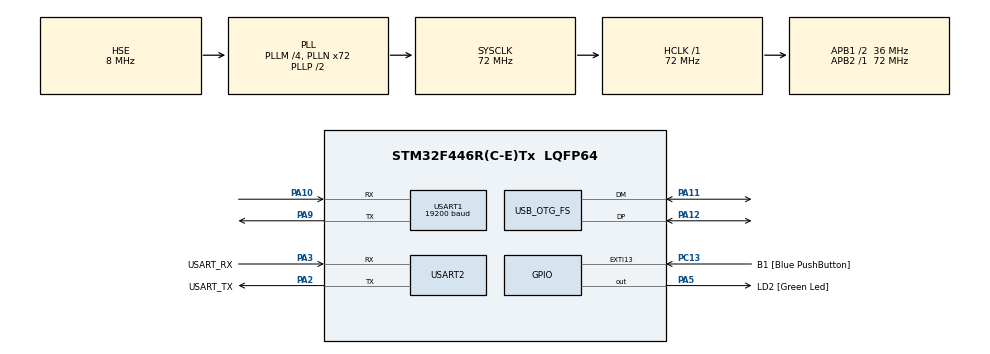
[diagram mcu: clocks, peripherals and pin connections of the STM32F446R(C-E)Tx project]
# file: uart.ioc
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Mcu.Family=STM32F4
Mcu.Name=STM32F446R(C-E)Tx
Mcu.Package=LQFP64
NVIC.OTG_FS_IRQn=true\:0\:0\:false\:false\:true\:false\:true\:true
NVIC.PriorityGroup=NVIC_PRIORITYGROUP_0
NVIC.USART1_IRQn=true\:0\:0\:false\:false\:true\:true\:true\:true
PA10.Mode=Asynchronous
PA10.Signal=USART1_RX
PA11.Mode=Device_Only
PA11.Signal=USB_OTG_FS_DM
PA12.Mode=Device_Only
PA12.Signal=USB_OTG_FS_DP
PA13.GPIO_Label=TMS
PA13.Mode=Serial_Wire
PA13.Signal=SYS_JTMS-SWDIO
PA14.GPIO_Label=TCK
PA14.Mode=Serial_Wire
PA14.Signal=SYS_JTCK-SWCLK
PA2.GPIO_Label=USART_TX
PA2.Mode=Asynchronous
PA2.Signal=USART2_TX
PA3.GPIO_Label=USART_RX
PA3.Mode=Asynchronous
PA3.Signal=USART2_RX
PA5.GPIO_Label=LD2 [Green Led]
PA5.Signal=GPIO_Output
PA9.Mode=Asynchronous
PA9.Signal=USART1_TX
PB3.GPIO_Label=SWO
PB3.Signal=SYS_JTDO-SWO
PC13.GPIO_Label=B1 [Blue PushButton]
PC13.GPIO_ModeDefaultEXTI=GPIO_MODE_IT_FALLING
PC13.Signal=GPXTI13
PC14-OSC32_IN.Mode=LSE-External-Oscillator
PC14-OSC32_IN.Signal=RCC_OSC32_IN
PC15-OSC32_OUT.Mode=LSE-External-Oscillator
PC15-OSC32_OUT.Signal=RCC_OSC32_OUT
PH0-OSC_IN.Mode=HSE-External-Oscillator
PH0-OSC_IN.Signal=RCC_OSC_IN
PH1-OSC_OUT.Mode=HSE-External-Oscillator
PH1-OSC_OUT.Signal=RCC_OSC_OUT
ProjectManager.HeapSize=0x200
ProjectManager.StackSize=0x400
ProjectManager.TargetToolchain=STM32CubeIDE
RCC.48MHZClocksFreq_Value=84000000
RCC.AHBFreq_Value=72000000
RCC.APB1CLKDivider=RCC_HCLK_DIV2
RCC.APB1Freq_Value=36000000
RCC.APB1TimFreq_Value=72000000
RCC.APB2Freq_Value=72000000
RCC.APB2TimFreq_Value=72000000
RCC.CortexFreq_Value=72000000
RCC.FLatency-AdvancedSettings=FLASH_LATENCY_2
RCC.HCLKFreq_Value=72000000
RCC.HSE_VALUE=8000000
RCC.HSI_VALUE=16000000
RCC.PLLM=4
RCC.PLLN=72
RCC.PLLQ=3
RCC.SYSCLKFreq_VALUE=72000000
RCC.SYSCLKSource=RCC_SYSCLKSOURCE_PLLCLK
RCC.USBFreq_Value=48000000
RCC.VCOOutputFreq_Value=144000000
USART1.BaudRate=19200
USART1.VirtualMode=VM_ASYNC
USART2.VirtualMode=VM_ASYNC
USB_DEVICE.CLASS_NAME_FS=CDC
USB_DEVICE.VirtualMode-CDC_FS=Cdc
USB_DEVICE.VirtualModeFS=Cdc_FS
USB_OTG_FS.VirtualMode=Device_Only
VP_USB_DEVICE_VS_USB_DEVICE_CDC_FS.Mode=CDC_FS
board=NUCLEO-F446RE

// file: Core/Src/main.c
/* USER CODE BEGIN Header */
/**
  ******************************************************************************
  * @file           : main.c
  * @brief          : Main program body
  ******************************************************************************
  * @attention
  *
  * Copyright (c) 2023 STMicroelectronics.
  * All rights reserved.
  *
  * This software is licensed under terms that can be found in the LICENSE file
  * in the root directory of this software component.
  * If no LICENSE file comes with this software, it is provided AS-IS.
  *
  ******************************************************************************
  */
/* USER CODE END Header */
#include "main.h"
#include "usb_device.h"

/* USER CODE BEGIN Includes */
#include "usbd_cdc_if.h"
/* USER CODE END Includes */

/* USER CODE BEGIN PD */
#define BUF_SIZE 200
/* USER CODE END PD */

UART_HandleTypeDef huart1;
UART_HandleTypeDef huart2;

/* USER CODE BEGIN PV */
uint8_t isReceived;
uint16_t receiveLength;
uint8_t im_rx_buffer[BUF_SIZE];
uint8_t usb_tx_buffer[BUF_SIZE];
/* USER CODE END PV */

void SystemClock_Config(void);
static void MX_GPIO_Init(void);
static void MX_USART2_UART_Init(void);
static void MX_USART1_UART_Init(void);
/* USER CODE BEGIN PFP */
void HAL_UART_RxCpltCallback(UART_HandleTypeDef *huart);
/* USER CODE END PFP */

int main(void)
{

  /* MCU Configuration--------------------------------------------------------*/

  /* Reset of all peripherals, Initializes the Flash interface and the Systick. */
  HAL_Init();

  /* Configure the system clock */
  SystemClock_Config();

  /* Initialize all configured peripherals */
  MX_GPIO_Init();
  MX_USART2_UART_Init();
  MX_USART1_UART_Init();
  MX_USB_DEVICE_Init();
  /* USER CODE BEGIN 2 */
  HAL_UART_Receive_IT(&huart1, im_rx_buffer, 1);
  /* USER CODE END 2 */

  /* Infinite loop */
  while (1)
  {

  }
}

void SystemClock_Config(void)
{
  RCC_OscInitTypeDef RCC_OscInitStruct = {0};
  RCC_ClkInitTypeDef RCC_ClkInitStruct = {0};

  /** Configure the main internal regulator output voltage
  */
  __HAL_RCC_PWR_CLK_ENABLE();
  __HAL_PWR_VOLTAGESCALING_CONFIG(PWR_REGULATOR_VOLTAGE_SCALE3);

  /** Initializes the RCC Oscillators according to the specified parameters
  * in the RCC_OscInitTypeDef structure.
  */
  RCC_OscInitStruct.OscillatorType = RCC_OSCILLATORTYPE_HSE;
  RCC_OscInitStruct.HSEState = RCC_HSE_ON;
  RCC_OscInitStruct.PLL.PLLState = RCC_PLL_ON;
  RCC_OscInitStruct.PLL.PLLSource = RCC_PLLSOURCE_HSE;
  RCC_OscInitStruct.PLL.PLLM = 4;
  RCC_OscInitStruct.PLL.PLLN = 72;
  RCC_OscInitStruct.PLL.PLLP = RCC_PLLP_DIV2;
  RCC_OscInitStruct.PLL.PLLQ = 3;
  RCC_OscInitStruct.PLL.PLLR = 2;
  if (HAL_RCC_OscConfig(&RCC_OscInitStruct) != HAL_OK)
  {
    Error_Handler();
  }

  /** Initializes the CPU, AHB and APB buses clocks
  */
  RCC_ClkInitStruct.ClockType = RCC_CLOCKTYPE_HCLK|RCC_CLOCKTYPE_SYSCLK
                              |RCC_CLOCKTYPE_PCLK1|RCC_CLOCKTYPE_PCLK2;
  RCC_ClkInitStruct.SYSCLKSource = RCC_SYSCLKSOURCE_PLLCLK;
  RCC_ClkInitStruct.AHBCLKDivider = RCC_SYSCLK_DIV1;
  RCC_ClkInitStruct.APB1CLKDivider = RCC_HCLK_DIV2;
  RCC_ClkInitStruct.APB2CLKDivider = RCC_HCLK_DIV1;

  if (HAL_RCC_ClockConfig(&RCC_ClkInitStruct, FLASH_LATENCY_2) != HAL_OK)
  {
    Error_Handler();
  }
}

static void MX_USART1_UART_Init(void)
{

  huart1.Instance = USART1;
  huart1.Init.BaudRate = 19200;
  huart1.Init.WordLength = UART_WORDLENGTH_8B;
  huart1.Init.StopBits = UART_STOPBITS_1;
  huart1.Init.Parity = UART_PARITY_NONE;
  huart1.Init.Mode = UART_MODE_TX_RX;
  huart1.Init.HwFlowCtl = UART_HWCONTROL_NONE;
  huart1.Init.OverSampling = UART_OVERSAMPLING_16;
  if (HAL_UART_Init(&huart1) != HAL_OK)
  {
    Error_Handler();
  }

}

static void MX_USART2_UART_Init(void)
{

  huart2.Instance = USART2;
  huart2.Init.BaudRate = 115200;
  huart2.Init.WordLength = UART_WORDLENGTH_8B;
  huart2.Init.StopBits = UART_STOPBITS_1;
  huart2.Init.Parity = UART_PARITY_NONE;
  huart2.Init.Mode = UART_MODE_TX_RX;
  huart2.Init.HwFlowCtl = UART_HWCONTROL_NONE;
  huart2.Init.OverSampling = UART_OVERSAMPLING_16;
  if (HAL_UART_Init(&huart2) != HAL_OK)
  {
    Error_Handler();
  }

}

static void MX_GPIO_Init(void)
{
  GPIO_InitTypeDef GPIO_InitStruct = {0};

  /* GPIO Ports Clock Enable */
  __HAL_RCC_GPIOC_CLK_ENABLE();
  __HAL_RCC_GPIOH_CLK_ENABLE();
  __HAL_RCC_GPIOA_CLK_ENABLE();
  __HAL_RCC_GPIOB_CLK_ENABLE();

  /*Configure GPIO pin Output Level */
  HAL_GPIO_WritePin(LD2_GPIO_Port, LD2_Pin, GPIO_PIN_RESET);

  /*Configure GPIO pin : B1_Pin */
  GPIO_InitStruct.Pin = B1_Pin;
  GPIO_InitStruct.Mode = GPIO_MODE_IT_FALLING;
  GPIO_InitStruct.Pull = GPIO_NOPULL;
  HAL_GPIO_Init(B1_GPIO_Port, &GPIO_InitStruct);

  /*Configure GPIO pin : LD2_Pin */
  GPIO_InitStruct.Pin = LD2_Pin;
  GPIO_InitStruct.Mode = GPIO_MODE_OUTPUT_PP;
  GPIO_InitStruct.Pull = GPIO_NOPULL;
  GPIO_InitStruct.Speed = GPIO_SPEED_FREQ_LOW;
  HAL_GPIO_Init(LD2_GPIO_Port, &GPIO_InitStruct);

}

/* USER CODE BEGIN 4 */
/**
 * @brief a function to send data from IM module to USB
 * @param a pointer indicating UART where data has been added
 * @retval none
 */
void HAL_UART_RxCpltCallback(UART_HandleTypeDef *huart)
{
	usb_tx_buffer[receiveLength] = im_rx_buffer[0];
	receiveLength++;
	if(im_rx_buffer[0] == '\r' || receiveLength > BUF_SIZE){
		CDC_Transmit_FS(usb_tx_buffer, receiveLength);
		//HAL_UART_Transmit_IT(&huart1, usb_tx_buffer, receiveLength);
		receiveLength = 0;
	}
	HAL_UART_Receive_IT(&huart1, im_rx_buffer, 1);
}
/* USER CODE END 4 */

void Error_Handler(void)
{
  __disable_irq();
  while (1)
  {
  }
}
